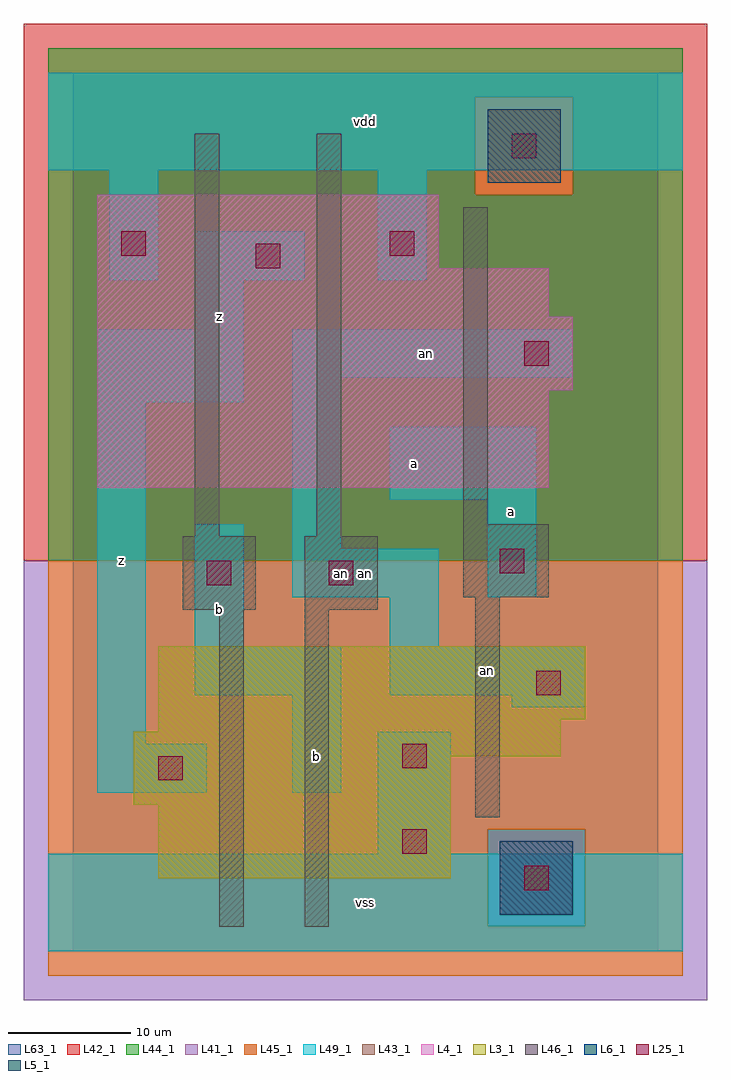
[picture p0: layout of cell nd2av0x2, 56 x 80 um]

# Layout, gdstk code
import gdstk
lib = gdstk.Library(unit=1e-6, precision=1e-09)
def R(c, l, rs):  # rectangles x0, y0, x1, y1
    for r in rs: c.add(gdstk.rectangle(r[:2], r[2:], *l))
L3_1 = (3, 1)
L4_1 = (4, 1)
L5_1 = (5, 1)
L6_1 = (6, 1)
L25_1 = (25, 1)
L41_1 = (41, 1)
L42_1 = (42, 1)
L43_1 = (43, 1)
L44_1 = (44, 1)
L45_1 = (45, 1)
L46_1 = (46, 1)
L49_1 = (49, 1)
L63_1 = (63, 1)

nd2av0x2 = lib.new_cell('nd2av0x2')
R(nd2av0x2, L3_1, [(7,6,31,12), (5,12,31,16), (5,16,40,18), (7,18,40,19), (7,19,42,25)])
R(nd2av0x2, L4_1, [(2,38,39,46), (2,46,41,52), (2,52,39,56), (2,56,30,62)])
R(nd2av0x2, L5_1, [(34,63,40,69)])
R(nd2av0x2, L6_1, [(35,3,41,9), (35,3,41,9)])
R(nd2av0x2, L25_1, [(37,5,39,7), (27,8,29,10), (7,14,9,16), (27,15,29,17), (38,21,40,23), (11,30,13,32), (21,30,23,32), (35,31,37,33), (37,48,39,50), (15,56,17,58), (4,57,6,59), (26,57,28,59), (36,65,38,67)])
R(nd2av0x2, L41_1, [(-4,-4,52,32)])
R(nd2av0x2, L42_1, [(-4,32,52,76)])
R(nd2av0x2, L43_1, [(35,3,41,9), (7,6,31,12), (5,12,31,16), (5,16,40,18), (7,18,40,19), (7,19,42,25), (2,38,39,46), (2,46,41,52), (2,52,39,56), (2,56,30,62), (34,63,40,69)])
R(nd2av0x2, L44_1, [(34,2,42,10), (-2,32,50,62), (-2,62,33,70), (41,62,50,70), (-2,70,50,74)])
R(nd2av0x2, L45_1, [(-2,-2,50,2), (-2,2,34,10), (42,2,50,10), (-2,10,50,32), (33,62,41,70)])
R(nd2av0x2, L46_1, [(12,2,14,28), (19,2,21,28), (33,11,35,29), (9,28,15,34), (19,28,25,34), (32,29,39,35), (10,34,12,67), (20,34,22,67), (32,35,34,61)])
R(nd2av0x2, L49_1, [(-2,0,50,8), (25,8,31,18), (2,13,11,17), (18,13,22,21), (2,17,6,45), (36,20,42,21), (10,21,22,25), (26,21,42,25), (10,25,14,35), (26,25,30,29), (18,29,30,33), (34,29,38,37), (18,33,22,47), (26,37,38,43), (2,45,14,51), (18,47,41,51), (10,51,14,55), (3,55,7,64), (10,55,19,59), (25,55,29,64), (-2,64,50,72)])
R(nd2av0x2, L63_1, [(0,0,48,72)])
nd2av0x2.add(gdstk.Label('an', (22,31), layer=49, texttype=1))
nd2av0x2.add(gdstk.Label('z', (4,32), layer=49, texttype=1))
nd2av0x2.add(gdstk.Label('b', (20,16), layer=49, texttype=1))
nd2av0x2.add(gdstk.Label('b', (12,28), layer=49, texttype=1))
nd2av0x2.add(gdstk.Label('z', (12,52), layer=49, texttype=1))
nd2av0x2.add(gdstk.Label('vss', (24,4), layer=49, texttype=1))
nd2av0x2.add(gdstk.Label('an', (24,31), layer=49, texttype=1))
nd2av0x2.add(gdstk.Label('a', (28,40), layer=49, texttype=1))
nd2av0x2.add(gdstk.Label('vdd', (24,68), layer=49, texttype=1))
nd2av0x2.add(gdstk.Label('an', (34,23), layer=49, texttype=1))
nd2av0x2.add(gdstk.Label('a', (36,36), layer=49, texttype=1))
nd2av0x2.add(gdstk.Label('an', (29,49), layer=49, texttype=1))

lib.write_gds('nd2av0x2.gds')
